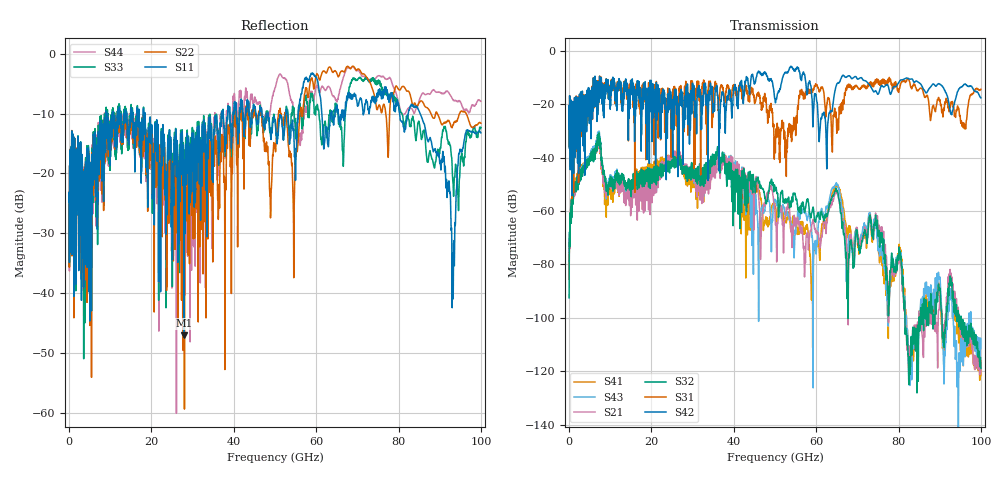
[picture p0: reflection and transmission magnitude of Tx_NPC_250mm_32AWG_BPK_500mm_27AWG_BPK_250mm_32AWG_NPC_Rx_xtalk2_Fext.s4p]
! Info: Touchstone file created by Circ.  Input file=Tx_NPC_250mm_32AWG_BPK_500mm_27AWG_BPK_250mm_32AWG_NPC_Rx.circ
# Hz S RI R 50
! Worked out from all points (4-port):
!   10000 points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, 10 MHz to 100 GHz, reference 50 ohm
!   strongest paths, dB at 10 MHz, 25.01 GHz, 50.01 GHz, 75.01 GHz, 100 GHz:
!     S42: -29.4, -18.4, -18.5, -16.2, -17.6
!     S31: -29.3, -22.2, -35.2, -10.8, -14.4
!     S32: -92.5, -40.9, -52.1, -69.4, -119.0
!     S21: -78.7, -38.7, -60.9, -67.6, -120.2
!     S43: -78.9, -39.8, -55.7, -74.7, -111.5
!     S41: -85.5, -39.4, -57.8, -74.8, -121.7
!   lowest |S11| = -47.1 dB at 27.91 GHz (marker M1), VSWR 1.01, Z = 49.7 - j0.361 ohm
!   |S11| at or under -10 dB: start of sweep to 8.988 GHz; 18.47 GHz to 37.06 GHz (18.59 GHz wide, 66.9 % of centre); 85.24 GHz to end of sweep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
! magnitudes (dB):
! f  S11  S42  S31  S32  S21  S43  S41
! 10 MHz  -24.8  -29.4  -29.3  -92.5  -78.7  -78.9  -85.5
! 6.99 GHz  -16.9  -12.1  -11.6  -32.8  -33.9  -32.1  -34.0
! 27.91 GHz  -47.1  -24.8  -20.3  -45.9  -44.2  -45.1  -47.0
! 65.05 GHz  -8.7  -12.3  -28.6  -52.7  -53.4  -50.3  -50.3
! 76.8 GHz  -6.2  -13.1  -11.2  -76.4  -72.6  -80.9  -84.5
! 93.25 GHz  -39.4  -21.8  -21.0  -92.1  -89.2  -99.2  -92.4
! 100 GHz  -13.2  -17.6  -14.4  -119.0  -120.2  -111.5  -121.7
